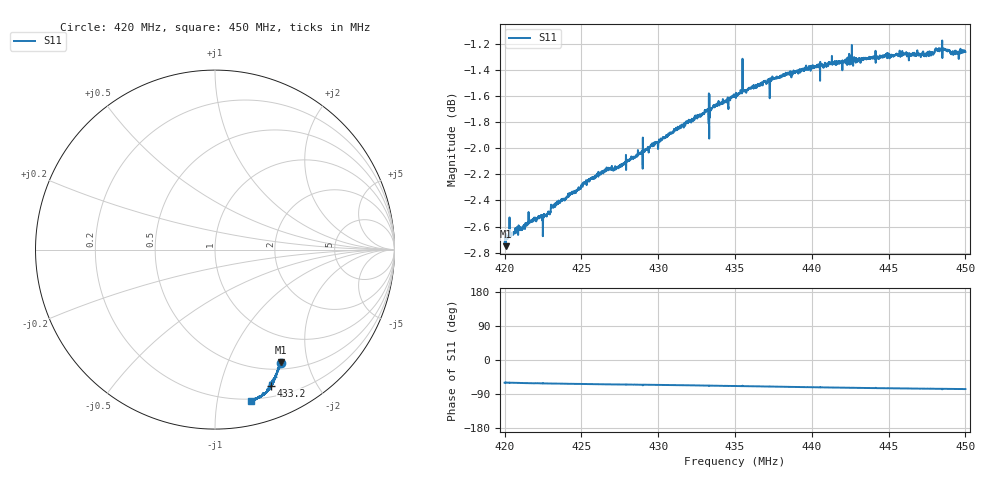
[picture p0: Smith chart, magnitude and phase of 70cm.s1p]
! Calibrated averaged scanner-service zoom
# Hz S RI R 50
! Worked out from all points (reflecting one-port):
!   3001 points, 420 MHz to 450 MHz, reference 50 ohm
!   lowest |S11| = -2.8 dB at 420.1 MHz (marker M1), VSWR 6.37, Z = 29.6 - j79.2 ohm
!   phase of S11 starts at -60 deg and turns -17 deg over the sweep
!   S11 on the Smith chart (normalised r, x): 420 MHz: 0.58, -1.58; 433.2 MHz: 0.31, -1.45; 450 MHz: 0.19, -1.25
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4.2e8  0.3667 -0.6323
4.2008e8  0.3686 -0.6284
4.2038e8  0.3669 -0.6361
4.2171e8  0.3591 -0.6529
4.2234e8  0.3556 -0.6573
4.2285e8  0.3516 -0.6639
4.2317e8  0.3525 -0.6662
4.2375e8  0.3508 -0.6728
4.2652e8  0.3396 -0.7009
4.275e8  0.336 -0.7062
4.2805e8  0.3349 -0.7113
4.3125e8  0.323 -0.7402
4.3278e8  0.3161 -0.7533
4.3319e8  0.3144 -0.7595
4.35e8  0.3035 -0.7746
4.3549e8  0.3256 -0.7955
4.3713e8  0.2882 -0.7923
4.3875e8  0.2755 -0.8029
4.425e8  0.2465 -0.8249
4.4396e8  0.2364 -0.8265
4.4408e8  0.2353 -0.8281
4.4439e8  0.2331 -0.8278
4.4625e8  0.2218 -0.8344
4.4785e8  0.2097 -0.8383
4.4834e8  0.2085 -0.841
4.488e8  0.2055 -0.8418
4.4913e8  0.2034 -0.8404
4.5e8  0.2002 -0.8414
